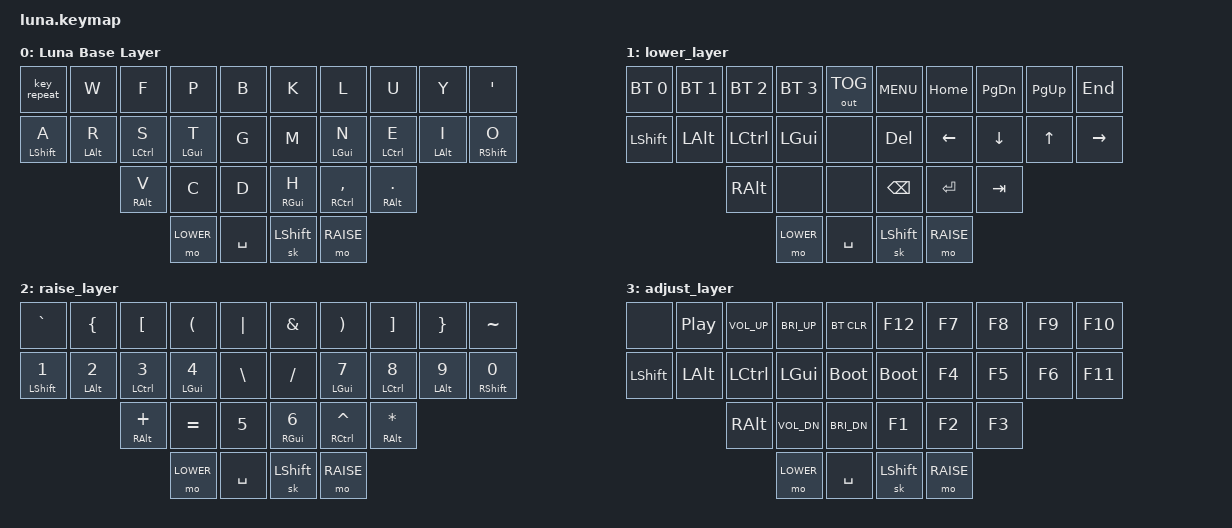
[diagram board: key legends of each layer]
/*
 * Copyright (c) 2020 The ZMK Contributors
 *
 * SPDX-License-Identifier: MIT
 */

#include <behaviors.dtsi>
#include <dt-bindings/zmk/keys.h>
#include <dt-bindings/zmk/bt.h>
#include <dt-bindings/zmk/ext_power.h>
#include <dt-bindings/zmk/outputs.h>

#define DEFAULT 0
#define LOWER   1
#define RAISE   2
#define ADJUST  3
#define LWR LOWER
#define RSE RAISE
#define ADJ ADJUST

&caps_word {
    continue-list = <UNDERSCORE MINUS>;
};

&sk {
  quick-release;
};

&lt {
    tapping-term-ms = <250>;
    quick_tap_ms = <250>;
    flavor = "tap-preferred";
};

/ {
    #include "combos.dtsi"

        behaviors {
            gqt: global-quick-tap {
                compatible = "zmk,behavior-hold-tap";
                label = "GLOBAL_QUICK_TAP";
                #binding-cells = <2>;
                flavor = "tap-preferred";
                tapping-term-ms = <200>;
                quick-tap-ms = <300>;
                global-quick-tap;
                bindings = <&kp>, <&kp>;
            };
        };

        conditional_layers {
            compatible = "zmk,conditional-layers";
            tri_layer {
                if-layers = <LOWER RAISE>;
                then-layer = <ADJUST>;
            };
        };

    keymap {
        compatible = "zmk,keymap";

        default_layer {
            label = "Luna Base Layer";
            bindings = <
 &key_repeat      &kp W      &kp F       &kp P        &kp B         &kp K         &kp L       &kp U        &kp Y      &kp APOS
 &gqt LSHIFT A &gqt LALT R &gqt LCTRL S &gqt LGUI T   &kp G         &kp M         &gqt LGUI N  &gqt LCTRL E  &gqt LALT I &gqt RSHIFT O
       &gqt RALT V &kp C       &kp D              &gqt RGUI H       &gqt RCTRL COMMA    &gqt RALT DOT  
                               &mo LWR &kp SPACE  &sk LSHIFT &mo RSE            
>;
        };

                lower_layer {
                        bindings = <
   &bt BT_SEL 0   &bt BT_SEL 1       &bt BT_SEL 2   &bt BT_SEL 3      &out OUT_TOG       &kp C_MENU     &kp HOME       &kp PG_DN &kp PG_UP      &kp END     
&kp LSHIFT &kp LALT &kp LCTRL &kp LGUI  &none         &kp DEL     &kp LEFT &kp DOWN  &kp UP &kp RIGHT
 &kp RALT &none       &none            &kp BSPC        &kp RET        &kp TAB
                               &mo LWR &kp SPACE  &sk LSHIFT &mo RSE
                        >;
                };
                raise_layer {
                        bindings = <
&kp GRAVE &kp LBRC   &kp LBKT      &kp  LPAR      &kp PIPE        &kp AMPS   &kp RPAR         &kp RBKT       &kp RBRC         &kp TILDE 
&mt LSHIFT N1 &mt LALT N2 &mt LCTRL N3   &mt LGUI N4    &kp BSLH         &kp FSLH &mt LGUI N7 &mt LCTRL N8 &mt LALT N9 &mt RSHIFT N0
&mt RALT PLUS &kp EQUAL       &kp N5         &mt RGUI N6      &mt RCTRL CARET    &mt RALT STAR 
                               &mo LWR &kp SPACE  &sk LSHIFT &mo RSE
                        >;
                };
                adjust_layer {
                        bindings = <
&none  &kp C_PP   &kp C_VOL_UP    &kp C_BRI_UP    &bt BT_CLR         &kp F12         &kp F7   &kp F8   &kp F9      &kp F10   
&kp LSHIFT     &kp LALT        &kp LCTRL       &kp LGUI        &bootloader     &bootloader   &kp F4  &kp F5   &kp F6      &kp F11 
 &kp RALT  &kp C_VOL_DN    &kp C_BRI_DN       &kp F1   &kp F2  &kp F3    
                               &mo LWR &kp SPACE  &sk LSHIFT &mo RSE
                        >;
                };
        };
    };
